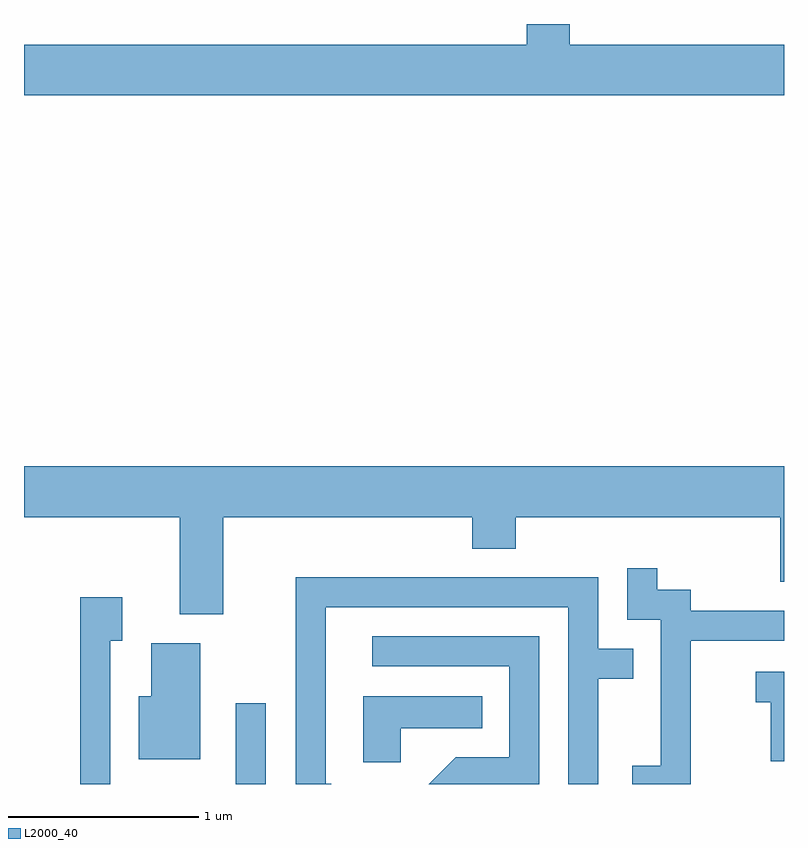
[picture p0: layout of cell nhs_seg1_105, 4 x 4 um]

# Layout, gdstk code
import gdstk
lib = gdstk.Library(unit=1e-6, precision=1e-09)
def R(c, l, rs):  # rectangles x0, y0, x1, y1
    for r in rs: c.add(gdstk.rectangle(r[:2], r[2:], *l))
def P(c, l, *ps):  # polygons
    for p in ps: c.add(gdstk.Polygon(p, *l))
L2000_40 = (2000, 40)

nhs_seg1_105 = lib.new_cell('nhs_seg1_105')
R(nhs_seg1_105, L2000_40, [(188.726,913.712,188.884,914.138)])
P(nhs_seg1_105, L2000_40, [(191.611,917.604),(190.484,917.604),(190.484,917.712),(190.256,917.712),(190.256,917.604),(187.611,917.604),(187.611,917.336),(191.611,917.336)],
  [(188.659,915.116),(189.971,915.116),(189.971,914.951),(190.199,914.951),(190.199,915.116),(191.591,915.116),(191.591,914.776),(191.611,914.776),(191.611,915.384),(187.611,915.384),(187.611,915.116),(188.431,915.116),(188.431,914.606),(188.659,914.606)],
  [(191.119,914.466),(191.611,914.466),(191.611,914.624),(191.119,914.624),(191.119,914.734),(190.944,914.734),(190.944,914.848),(190.786,914.848),(190.786,914.576),(190.961,914.576),(190.961,913.809),(190.811,913.809),(190.811,913.712),(191.119,913.712)],
  [(189.229,913.714),(189.199,913.714),(189.199,914.641),(190.476,914.641),(190.476,913.712),(190.634,913.712),(190.634,914.266),(190.818,914.266),(190.818,914.424),(190.634,914.424),(190.634,914.799),(189.041,914.799),(189.041,913.712),(189.229,913.712)],
  [(188.064,914.466),(188.129,914.466),(188.129,914.694),(187.906,914.694),(187.906,913.712),(188.064,913.712)],
  [(190.324,914.489),(189.443,914.489),(189.443,914.331),(190.166,914.331),(190.166,913.854),(189.884,913.854),(189.742,913.712),(190.324,913.712)],
  [(188.539,914.454),(188.281,914.454),(188.281,914.174),(188.216,914.174),(188.216,913.841),(188.539,913.841)],
  [(191.611,914.304),(191.463,914.304),(191.463,914.141),(191.541,914.141),(191.541,913.831),(191.611,913.831)],
  [(189.594,914.006),(190.023,914.006),(190.023,914.174),(189.396,914.174),(189.396,913.826),(189.594,913.826)])

lib.write_gds('nhs_seg1_105.gds')
